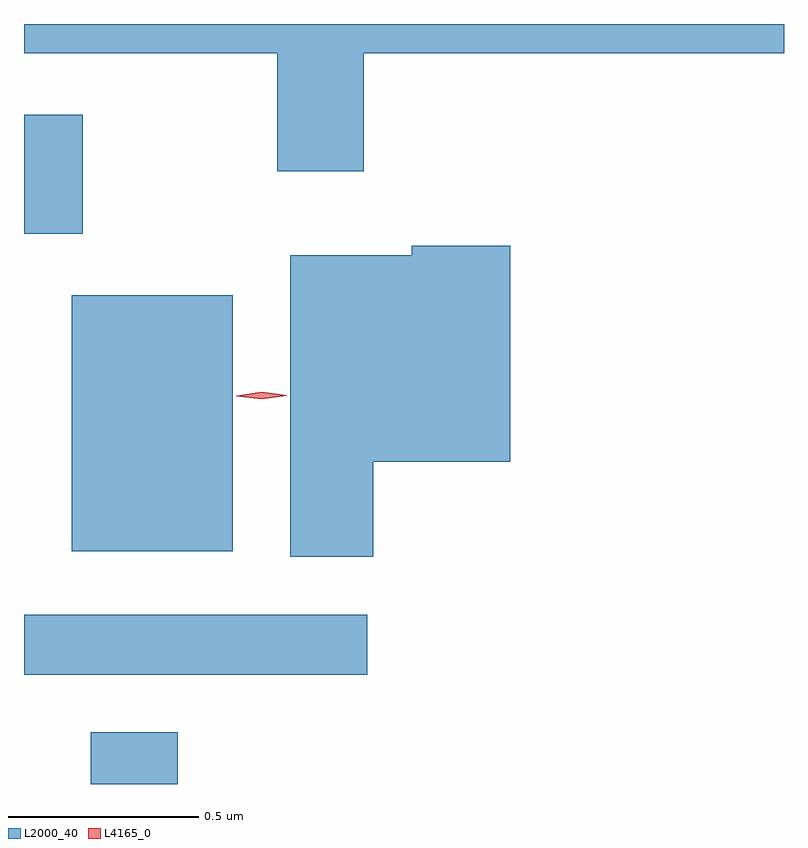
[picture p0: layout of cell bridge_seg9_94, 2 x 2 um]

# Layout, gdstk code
import gdstk
lib = gdstk.Library(unit=1e-6, precision=1e-09)
def R(c, l, rs):  # rectangles x0, y0, x1, y1
    for r in rs: c.add(gdstk.rectangle(r[:2], r[2:], *l))
def P(c, l, *ps):  # polygons
    for p in ps: c.add(gdstk.Polygon(p, *l))
L2000_40 = (2000, 40)
L4165_0 = (4165, 0)

bridge_seg9_94 = lib.new_cell('bridge_seg9_94')
R(bridge_seg9_94, L2000_40, [(1730.641,2000.993,1730.869,2001.129), (1730.465,2001.281,1731.368,2001.439), (1730.591,2001.606,1731.014,2002.279), (1730.465,2002.441,1730.619,2002.754)])
P(bridge_seg9_94, L2000_40, [(1731.359,2002.916),(1732.465,2002.916),(1732.465,2002.993),(1730.465,2002.993),(1730.465,2002.916),(1731.131,2002.916),(1731.131,2002.606),(1731.359,2002.606)],
  [(1731.384,2001.841),(1731.744,2001.841),(1731.744,2002.409),(1731.486,2002.409),(1731.486,2002.384),(1731.166,2002.384),(1731.166,2001.591),(1731.384,2001.591)])
P(bridge_seg9_94, L4165_0, [(1731.09,2002.005),(1731.024,2002.014),(1731.024,2002.014),(1731.024,2002.015),(1731.09,2002.025),(1731.156,2002.016),(1731.156,2002.016),(1731.156,2002.015)])

lib.write_gds('bridge_seg9_94.gds')
